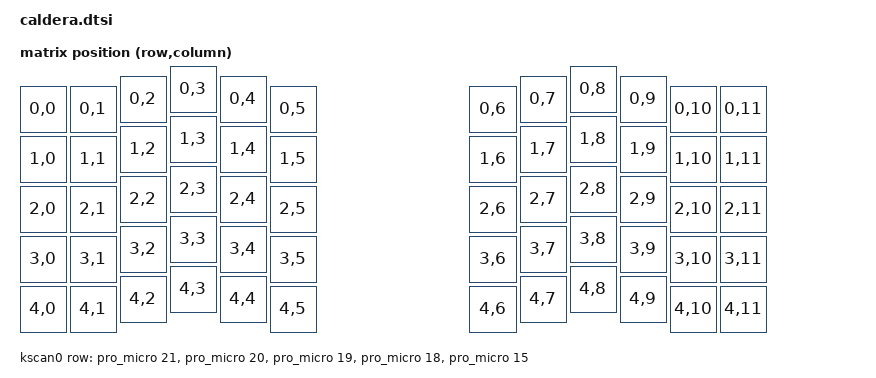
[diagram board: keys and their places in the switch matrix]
#include <physical_layouts.dtsi>

/ {
    chosen {
        zmk,kscan = &kscan0;
        zmk,physical_layout = &physical_layout0;
    };

    physical_layout0: physical_layout_0 {
        compatible = "zmk,physical-layout";
        display-name = "5x12 Split";

        // kscan = <&kscan0>;
        transform = <&default_transform>;

        keys  //                     w   h    x    y     rot    rx    ry
            = <&key_physical_attrs 100 100    0   40       0     0     0>
            , <&key_physical_attrs 100 100  100   40       0     0     0>
            , <&key_physical_attrs 100 100  200   20       0     0     0>
            , <&key_physical_attrs 100 100  300    0       0     0     0>
            , <&key_physical_attrs 100 100  400   20       0     0     0>
            , <&key_physical_attrs 100 100  500   40       0     0     0>
            , <&key_physical_attrs 100 100  900   40       0     0     0>
            , <&key_physical_attrs 100 100 1000   20       0     0     0>
            , <&key_physical_attrs 100 100 1100    0       0     0     0>
            , <&key_physical_attrs 100 100 1200   20       0     0     0>
            , <&key_physical_attrs 100 100 1300   40       0     0     0>
            , <&key_physical_attrs 100 100 1400   40       0     0     0>
            , <&key_physical_attrs 100 100    0  140       0     0     0>
            , <&key_physical_attrs 100 100  100  140       0     0     0>
            , <&key_physical_attrs 100 100  200  120       0     0     0>
            , <&key_physical_attrs 100 100  300  100       0     0     0>
            , <&key_physical_attrs 100 100  400  120       0     0     0>
            , <&key_physical_attrs 100 100  500  140       0     0     0>
            , <&key_physical_attrs 100 100  900  140       0     0     0>
            , <&key_physical_attrs 100 100 1000  120       0     0     0>
            , <&key_physical_attrs 100 100 1100  100       0     0     0>
            , <&key_physical_attrs 100 100 1200  120       0     0     0>
            , <&key_physical_attrs 100 100 1300  140       0     0     0>
            , <&key_physical_attrs 100 100 1400  140       0     0     0>
            , <&key_physical_attrs 100 100    0  240       0     0     0>
            , <&key_physical_attrs 100 100  100  240       0     0     0>
            , <&key_physical_attrs 100 100  200  220       0     0     0>
            , <&key_physical_attrs 100 100  300  200       0     0     0>
            , <&key_physical_attrs 100 100  400  220       0     0     0>
            , <&key_physical_attrs 100 100  500  240       0     0     0>
            , <&key_physical_attrs 100 100  900  240       0     0     0>
            , <&key_physical_attrs 100 100 1000  220       0     0     0>
            , <&key_physical_attrs 100 100 1100  200       0     0     0>
            , <&key_physical_attrs 100 100 1200  220       0     0     0>
            , <&key_physical_attrs 100 100 1300  240       0     0     0>
            , <&key_physical_attrs 100 100 1400  240       0     0     0>
            , <&key_physical_attrs 100 100    0  340       0     0     0>
            , <&key_physical_attrs 100 100  100  340       0     0     0>
            , <&key_physical_attrs 100 100  200  320       0     0     0>
            , <&key_physical_attrs 100 100  300  300       0     0     0>
            , <&key_physical_attrs 100 100  400  320       0     0     0>
            , <&key_physical_attrs 100 100  500  340       0     0     0>
            , <&key_physical_attrs 100 100  900  340       0     0     0>
            , <&key_physical_attrs 100 100 1000  320       0     0     0>
            , <&key_physical_attrs 100 100 1100  300       0     0     0>
            , <&key_physical_attrs 100 100 1200  320       0     0     0>
            , <&key_physical_attrs 100 100 1300  340       0     0     0>
            , <&key_physical_attrs 100 100 1400  340       0     0     0>
            , <&key_physical_attrs 100 100    0  440       0     0     0>
            , <&key_physical_attrs 100 100  100  440       0     0     0>
            , <&key_physical_attrs 100 100  200  420       0     0     0>
            , <&key_physical_attrs 100 100  300  400       0     0     0>
            , <&key_physical_attrs 100 100  400  420       0     0     0>
            , <&key_physical_attrs 100 100  500  440       0     0     0>
            , <&key_physical_attrs 100 100  900  440       0     0     0>
            , <&key_physical_attrs 100 100 1000  420       0     0     0>
            , <&key_physical_attrs 100 100 1100  400       0     0     0>
            , <&key_physical_attrs 100 100 1200  420       0     0     0>
            , <&key_physical_attrs 100 100 1300  440       0     0     0>
            , <&key_physical_attrs 100 100 1400  440       0     0     0>
            ;
    };

    default_transform: keymap_transform_0 {
        compatible = "zmk,matrix-transform";
        columns = <12>;
        rows = <5>;
// | SW6  | SW5  | SW4  | SW3  | SW2  | SW1  |                 | SW1  | SW2  | SW3  | SW4  | SW5  | SW6  |
// | SW12 | SW11 | SW10 | SW9  | SW8  | SW7  |                 | SW7  | SW8  | SW9  | SW10 | SW11 | SW12 |
// | SW18 | SW17 | SW16 | SW15 | SW14 | SW13 |                 | SW13 | SW14 | SW15 | SW16 | SW17 | SW18 |
// | SW24 | SW23 | SW22 | SW21 | SW20 | SW19 |                 | SW19 | SW20 | SW21 | SW22 | SW23 | SW24 |
// | SW30 | SW29 | SW28 | SW27 | SW26 | SW25 |                 | SW25 | SW26 | SW27 | SW28 | SW29 | SW30 |

        map = <
RC(0,0) RC(0,1) RC(0,2) RC(0,3) RC(0,4) RC(0,5)                 RC(0,6) RC(0,7) RC(0,8) RC(0,9) RC(0,10) RC(0,11)
RC(1,0) RC(1,1) RC(1,2) RC(1,3) RC(1,4) RC(1,5)                 RC(1,6) RC(1,7) RC(1,8) RC(1,9) RC(1,10) RC(1,11)
RC(2,0) RC(2,1) RC(2,2) RC(2,3) RC(2,4) RC(2,5)                 RC(2,6) RC(2,7) RC(2,8) RC(2,9) RC(2,10) RC(2,11)
RC(3,0) RC(3,1) RC(3,2) RC(3,3) RC(3,4) RC(3,5)                 RC(3,6) RC(3,7) RC(3,8) RC(3,9) RC(3,10) RC(3,11)
RC(4,0) RC(4,1) RC(4,2) RC(4,3) RC(4,4) RC(4,5)                 RC(4,6) RC(4,7) RC(4,8) RC(4,9) RC(4,10) RC(4,11)
// RC(5,0) RC(5,1) RC(5,2) RC(5,3) RC(5,4) RC(5,5)                 RC(5,6) RC(5,7) RC(5,8) RC(5,9) RC(5,10) RC(5,11)
        >;
    };

    kscan0: kscan {
        compatible = "zmk,kscan-gpio-matrix";
        wakeup-source;
        diode-direction = "col2row";
        row-gpios
            = <&pro_micro 21 (GPIO_ACTIVE_HIGH | GPIO_PULL_DOWN)> // Row A from the schematic file
            , <&pro_micro 20 (GPIO_ACTIVE_HIGH | GPIO_PULL_DOWN)> // Row B from the schematic file
            , <&pro_micro 19 (GPIO_ACTIVE_HIGH | GPIO_PULL_DOWN)> // Row C from the schematic file
            , <&pro_micro 18 (GPIO_ACTIVE_HIGH | GPIO_PULL_DOWN)> // Row D from the schematic file
            , <&pro_micro 15 (GPIO_ACTIVE_HIGH | GPIO_PULL_DOWN)> // Row E from the schematic file
            ;

    };
};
